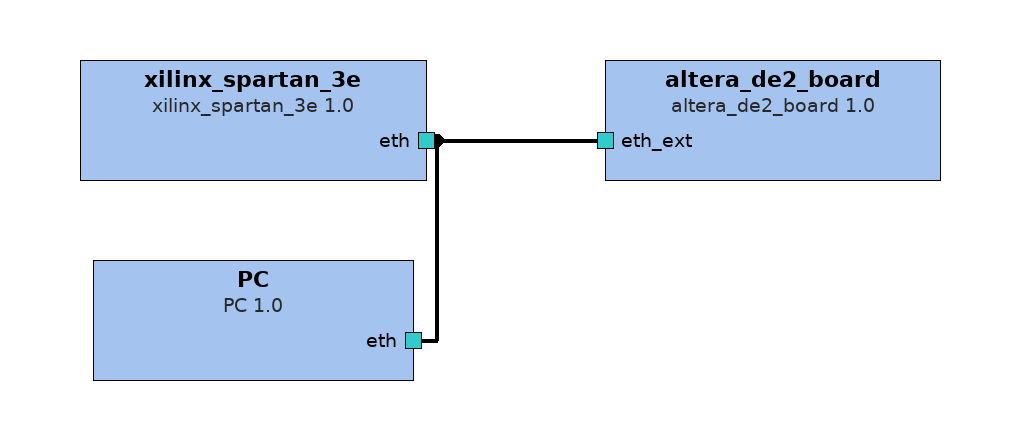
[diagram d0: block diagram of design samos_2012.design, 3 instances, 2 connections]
<?xml version="1.0" encoding="UTF-8"?>
<!-- Created by Kactus2 - Open source IP-Xact toolset -->
<!-- http://sourceforge.net/projects/kactus2/ -->
<!-- Date: 03.09.2012 -->
<!-- Time: 13:51:10 -->
<spirit:design xmlns:kactus2="http://funbase.cs.tut.fi/" xmlns:spirit="http://www.spiritconsortium.org/XMLSchema/SPIRIT/1.5" xmlns:xsi="http://www.w3.org/2001/XMLSchema-instance" xsi:schemaLocation="http://www.spiritconsortium.org/XMLSchema/SPIRIT/1.5 http://www.spiritconsortium.org/XMLSchema/SPIRIT/1.5/index.xsd"><spirit:vendor>TUT</spirit:vendor><spirit:library>product</spirit:library><spirit:name>samos_2012.design</spirit:name>
 <spirit:version>1.0</spirit:version><spirit:componentInstances>
 <spirit:componentInstance><spirit:instanceName>altera_de2_board</spirit:instanceName><spirit:componentRef spirit:vendor="TUT" spirit:library="board" spirit:name="altera_de2_board" spirit:version="1.0"/></spirit:componentInstance>
 <spirit:componentInstance><spirit:instanceName>PC</spirit:instanceName><spirit:componentRef spirit:vendor="TUT" spirit:library="board" spirit:name="PC" spirit:version="1.0"/></spirit:componentInstance>
 <spirit:componentInstance><spirit:instanceName>xilinx_spartan_3e</spirit:instanceName><spirit:componentRef spirit:vendor="TUT" spirit:library="board" spirit:name="xilinx_spartan_3e" spirit:version="1.0"/></spirit:componentInstance>
</spirit:componentInstances><spirit:interconnections>
 <spirit:interconnection><spirit:name>xilinx_spartan_3e_0_eth_to_altera_de2_board_0_eth_ext</spirit:name><spirit:activeInterface spirit:componentRef="xilinx_spartan_3e" spirit:busRef="eth"/><spirit:activeInterface spirit:componentRef="altera_de2_board" spirit:busRef="eth_ext"/></spirit:interconnection>
 <spirit:interconnection><spirit:name>PC_eth_to_altera_de2_board_eth_ext</spirit:name><spirit:activeInterface spirit:componentRef="PC" spirit:busRef="eth"/><spirit:activeInterface spirit:componentRef="altera_de2_board" spirit:busRef="eth_ext"/></spirit:interconnection>
</spirit:interconnections></spirit:design>

